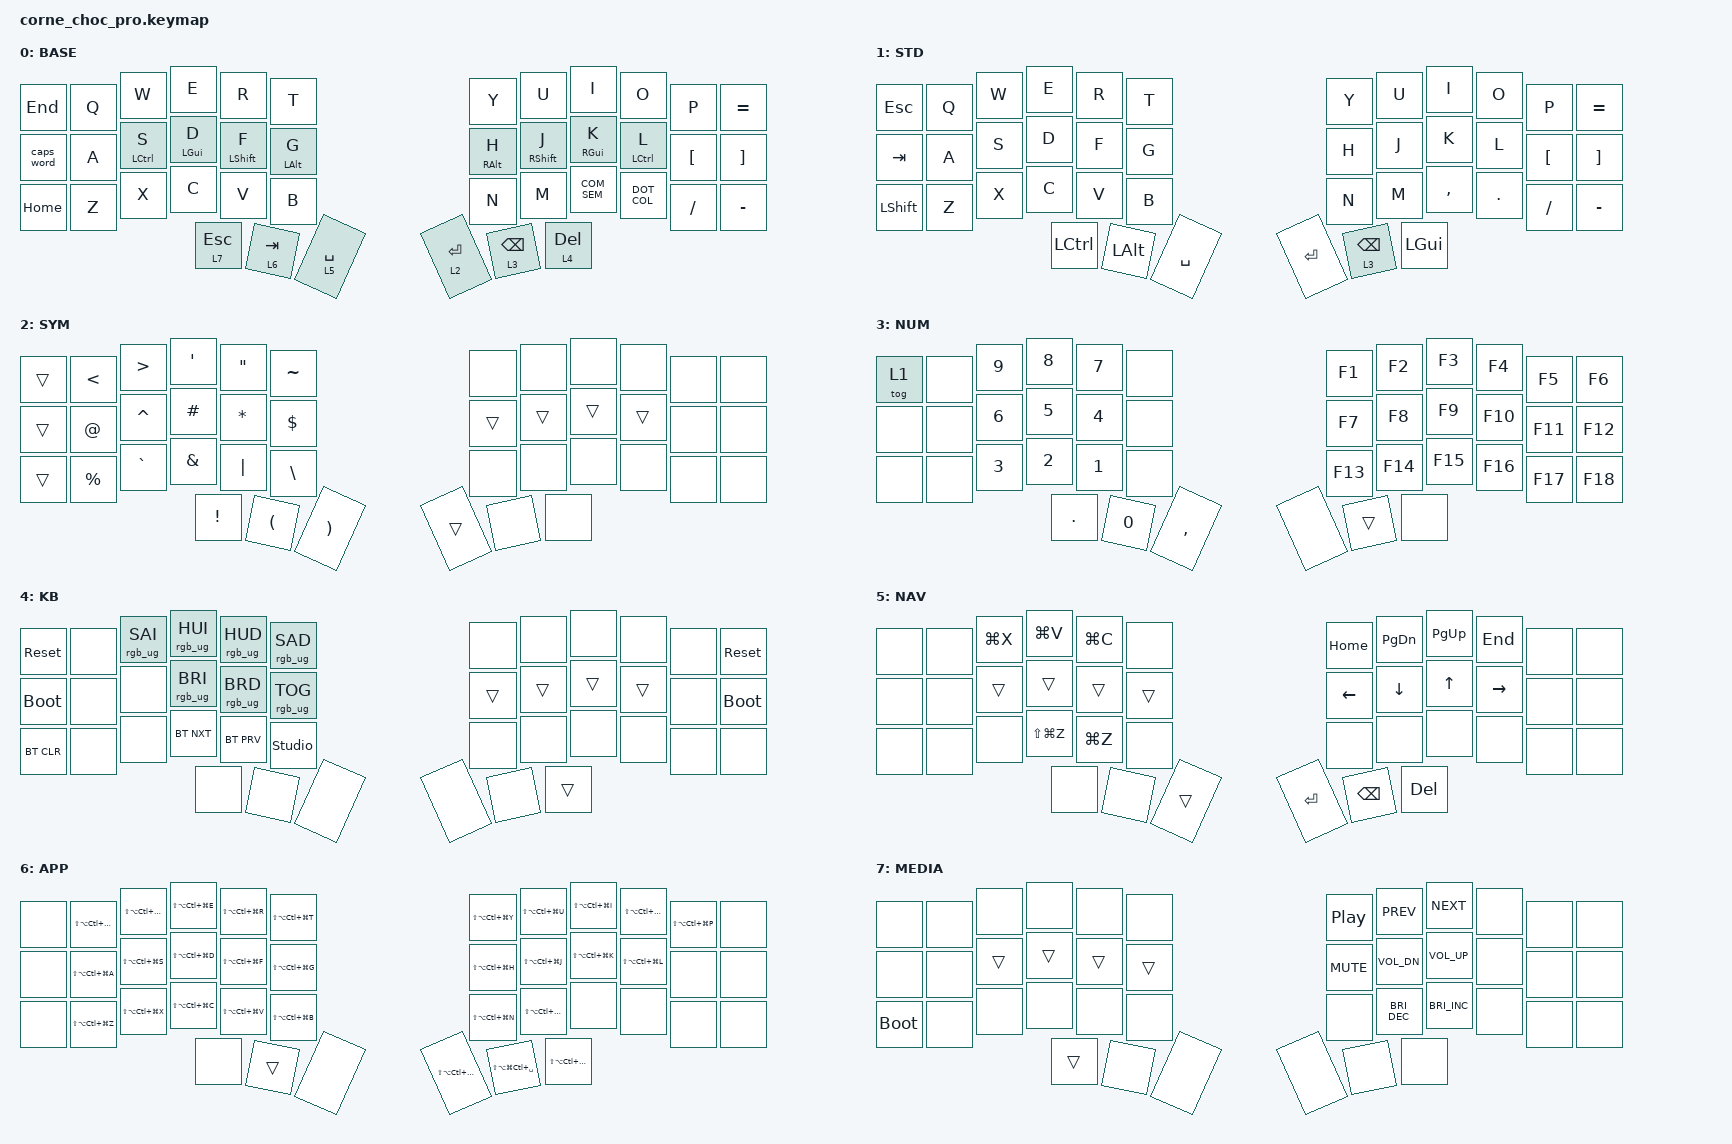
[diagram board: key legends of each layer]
/*
 * Copyright (c) 2020 The ZMK Contributors
 *
 * SPDX-License-Identifier: MIT
 */

#include <behaviors.dtsi>
#include <dt-bindings/zmk/bt.h>
#include <dt-bindings/zmk/keys.h>
#include <dt-bindings/zmk/rgb.h>

/ {
    chosen { zmk,physical-layout = &default_layout; };
};

/ {
    behaviors {
        HMR: HMR {
            compatible = "zmk,behavior-hold-tap";
            label = "HMR";
            bindings = <&kp>, <&kp>;

            #binding-cells = <2>;
            tapping-term-ms = <200>;
            flavor = "tap-preferred";
            hold-while-undecided;
            hold-trigger-key-positions = <0 1 2 3 4 5 12 13 14 15 16 17 24 25 26 27 28 29 36 37 38>;
            hold-trigger-on-release;
        };

        HML: HML {
            compatible = "zmk,behavior-hold-tap";
            label = "HML";
            bindings = <&kp>, <&kp>;

            #binding-cells = <2>;
            tapping-term-ms = <200>;
            flavor = "hold-preferred";
            hold-while-undecided;
            hold-trigger-on-release;
            hold-trigger-key-positions = <6 7 8 9 10 11 18 19 20 21 22 23 30 31 32 33 34 35 39 40 41>;
        };

        COM_SEM: COM_SEM {
            compatible = "zmk,behavior-mod-morph";
            label = "COM_SEM";
            bindings = <&kp COMMA>, <&kp SEMI>;

            #binding-cells = <0>;
            mods = <(MOD_LSFT)>;
        };

        DOT_COL: DOT_COL {
            compatible = "zmk,behavior-mod-morph";
            label = "DOT_COL";
            bindings = <&kp DOT>, <&kp COLON>;

            #binding-cells = <0>;
            mods = <(MOD_LSFT)>;
        };
    };

    keymap {
        compatible = "zmk,keymap";

        base_layer {
            display-name = "BASE";
            bindings = <
&kp END     &kp Q  &kp W         &kp E            &kp R              &kp T                &kp Y             &kp U               &kp I             &kp O         &kp P             &kp EQUAL
&caps_word  &kp A  &HML LCTRL S  &HML LEFT_GUI D  &HML LEFT_SHIFT F  &HML LEFT_ALT G      &HMR RIGHT_ALT H  &HMR RIGHT_SHIFT J  &HMR RIGHT_GUI K  &HMR LCTRL L  &kp LEFT_BRACKET  &kp RIGHT_BRACKET
&kp HOME    &kp Z  &kp X         &kp C            &kp V              &kp B                &kp N             &kp M               &COM_SEM          &DOT_COL      &kp FSLH          &kp MINUS
                                 &lt 7 ESCAPE     &lt 6 TAB          &lt 5 SPACE          &lt 2 RET         &lt 3 BSPC          &lt 4 DEL
            >;
        };

        standard_layer {
            display-name = "STD";
            bindings = <
&kp ESC    &kp Q  &kp W      &kp E     &kp R      &kp T      &kp Y    &kp U       &kp I         &kp O    &kp P             &kp EQUAL
&kp TAB    &kp A  &kp S      &kp D     &kp F      &kp G      &kp H    &kp J       &kp K         &kp L    &kp LEFT_BRACKET  &kp RIGHT_BRACKET
&kp LSHFT  &kp Z  &kp X      &kp C     &kp V      &kp B      &kp N    &kp M       &kp COMMA     &kp DOT  &kp FSLH          &kp MINUS
                  &kp LCTRL  &kp LALT  &kp SPACE             &kp RET  &lt 3 BSPC  &kp LEFT_GUI
            >;
        };

        symbol_layer {
            bindings = <
&trans  &kp LESS_THAN  &kp GREATER_THAN  &kp SINGLE_QUOTE  &kp DOUBLE_QUOTES     &kp TILDE                  &none   &none   &none   &none   &none  &none
&trans  &kp AT         &kp CARET         &kp POUND         &kp ASTRK             &kp DOLLAR                 &trans  &trans  &trans  &trans  &none  &none
&trans  &kp PERCENT    &kp GRAVE         &kp AMPS          &kp PIPE              &kp BACKSLASH              &none   &none   &none   &none   &none  &none
                                         &kp EXCLAMATION   &kp LEFT_PARENTHESIS  &kp RIGHT_PARENTHESIS      &trans  &none   &none
            >;

            label = "SYM";
        };

        number_layer {
            display-name = "NUM";
            bindings = <
&tog 1  &none  &kp N9  &kp N8   &kp N7  &none          &kp F1  &kp F2  &kp F3  &kp F4   &kp F5   &kp F6
&none   &none  &kp N6  &kp N5   &kp N4  &none          &kp F7   &kp F8   &kp F9   &kp F10  &kp F11  &kp F12
&none   &none  &kp N3  &kp N2   &kp N1  &none          &kp F13  &kp F14  &kp F15  &kp F16  &kp F17  &kp F18
                       &kp DOT  &kp N0  &kp COMMA      &none   &trans  &none
            >;
        };

        keyboard_layer {
            display-name = "KB";
            bindings = <
&sys_reset   &none  &rgb_ug RGB_SAI  &rgb_ug RGB_HUI  &rgb_ug RGB_HUD  &rgb_ug RGB_SAD      &none   &none   &none   &none   &none  &sys_reset
&bootloader  &none  &none            &rgb_ug RGB_BRI  &rgb_ug RGB_BRD  &rgb_ug RGB_TOG      &trans  &trans  &trans  &trans  &none  &bootloader
&bt BT_CLR   &none  &none            &bt BT_NXT       &bt BT_PRV       &studio_unlock       &none   &none   &none   &none   &none  &none
                                     &none            &none            &none                &none   &none   &trans
            >;
        };

        navigation_layer {
            bindings = <
&none  &none  &kp LG(X)  &kp LG(V)      &kp LG(C)  &none       &kp HOME  &kp PAGE_DOWN  &kp PAGE_UP  &kp END    &none  &none
&none  &none  &trans     &trans         &trans     &trans      &kp LEFT  &kp DOWN       &kp UP       &kp RIGHT  &none  &none
&none  &none  &none      &kp LS(LG(Z))  &kp LG(Z)  &none       &none     &none          &none        &none      &none  &none
                         &none          &none      &trans      &kp RET   &kp BACKSPACE  &kp DEL
            >;

            label = "NAV";
        };

        app_layer {
            display-name = "APP";
            bindings = <
&none  &kp LS(LA(LC(LG(Q))))  &kp LS(LA(LC(LG(W))))  &kp LS(LA(LC(LG(E))))  &kp LS(LA(LC(LG(R))))  &kp LS(LA(LC(LG(T))))      &kp LS(LA(LC(LG(Y))))    &kp LS(LA(LC(LG(U))))      &kp LS(LA(LC(LG(I))))    &kp LS(LA(LC(LG(O))))  &kp LS(LA(LC(LG(P))))  &none
&none  &kp LS(LA(LC(LG(A))))  &kp LS(LA(LC(LG(S))))  &kp LS(LA(LC(LG(D))))  &kp LS(LA(LC(LG(F))))  &kp LS(LA(LC(LG(G))))      &kp LS(LA(LC(LG(H))))    &kp LS(LA(LC(LG(J))))      &kp LS(LA(LC(LG(K))))    &kp LS(LA(LC(LG(L))))  &none                  &none
&none  &kp LS(LA(LC(LG(Z))))  &kp LS(LA(LC(LG(X))))  &kp LS(LA(LC(LG(C))))  &kp LS(LA(LC(LG(V))))  &kp LS(LA(LC(LG(B))))      &kp LS(LA(LC(LG(N))))    &kp LS(LA(LC(LG(M))))      &none                    &none                  &none                  &none
                                                     &none                  &trans                 &none                      &kp LS(LA(LC(LG(RET))))  &kp LS(LA(LG(LC(SPACE))))  &kp LS(LA(LC(LG(TAB))))
            >;
        };

        media_layer {
            display-name = "MEDIA";
            bindings = <
&none        &none  &none   &none   &none   &none       &kp C_PLAY_PAUSE  &kp C_PREV     &kp C_NEXT            &none  &none  &none
&none        &none  &trans  &trans  &trans  &trans      &kp K_MUTE        &kp C_VOL_DN   &kp C_VOLUME_UP       &none  &none  &none
&bootloader  &none  &none   &none   &none   &none       &none             &kp C_BRI_DEC  &kp C_BRIGHTNESS_INC  &none  &none  &none
                            &trans  &none   &none       &none             &none          &none
            >;
        };
    };
};
